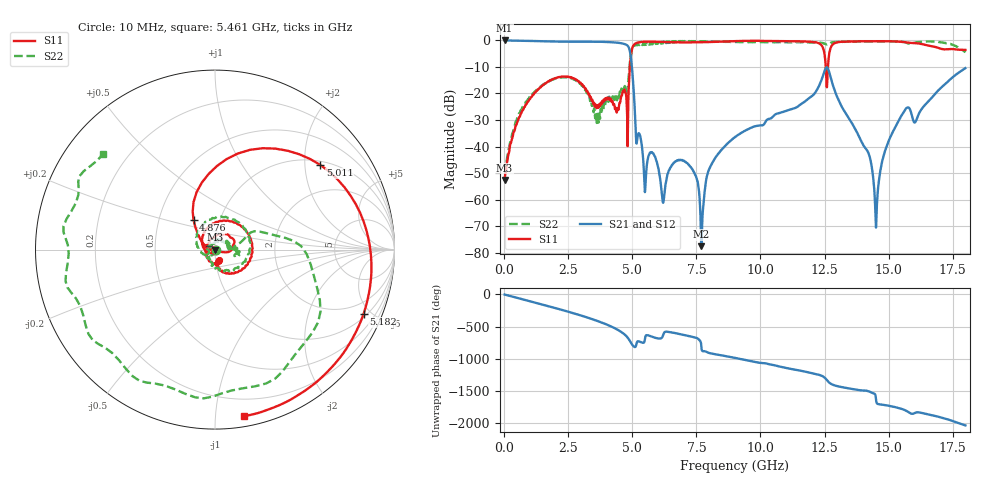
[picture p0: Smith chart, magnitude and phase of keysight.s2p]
!Keysight Technologies,E5080B,MY59500459,A.17.35.16
!Date: Friday, August 22, 2025 11:23:45
!Correction: S11(C  2-Port  )
!S21(C  2-Port  )
!S12(C  2-Port  )
!S22(C  2-Port  )
!S2P File: Measurements: S11, S21, S12, S22:
# Hz S  dB  R 50
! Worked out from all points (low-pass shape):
!   2001 points, 10 MHz to 18 GHz, reference 50 ohm
!   highest |S21| = -0.02 dB at 10 MHz (marker M1); lowest = -77.5 dB at 7.692 GHz (marker M2)
!   |S21| within 3 dB of the highest: start of sweep to 4.872 GHz
!   lowest |S11| = -52.5 dB at 10 MHz (marker M3), VSWR 1.00, Z = 50.2 - j0.027 ohm
!   |S11| at or under -10 dB: start of sweep to 4.899 GHz; 12.55 GHz to 12.63 GHz (85.42 MHz wide, 0.678 % of centre)
!   |S22| runs from -50.5 to -0.2 dB; largest |S21 - S12| = 0.00092
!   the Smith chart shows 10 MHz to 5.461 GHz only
!   S11 on the Smith chart (normalised r, x): 10 MHz: 1.00, -0.00; 4.876 GHz: 0.75, +0.26; 5.011 GHz: 1.10, +2.39; 5.182 GHz: 1.18, -4.54; 5.461 GHz: 0.07, -1.19
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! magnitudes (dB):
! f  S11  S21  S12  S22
! 10 MHz  -52.5  0.0  0.0  -50.5
! 1.107 GHz  -20.6  -0.2  -0.2  -20.0
! 3.014 GHz  -16.6  -0.5  -0.5  -17.0
! 3.653 GHz  -25.2  -0.5  -0.5  -29.0
! 4.876 GHz  -13.8  -3.2  -3.2  -11.4
! 5.011 GHz  -2.5  -13.8  -13.7  -2.7
! 5.182 GHz  -0.9  -37.7  -37.7  -1.6
! 5.461 GHz  -0.5  -51.9  -51.9  -1.7
! 6.01 GHz  -0.5  -48.0  -48.0  -0.7
! 6.199 GHz  -0.6  -61.2  -61.3  -0.9
! 6.603 GHz  -0.7  -46.2  -46.2  -0.6
! 7.215 GHz  -0.8  -47.0  -47.0  -0.4
! 7.692 GHz  -0.7  -77.5  -79.9  -0.4
! 8.025 GHz  -0.6  -47.9  -47.9  -0.5
! 9.005 GHz  -0.3  -36.4  -36.4  -0.6
! 12.01 GHz  -0.6  -21.0  -21.0  -0.7
! 12.64 GHz  -9.3  -10.7  -10.7  -1.3
! 12.88 GHz  -1.1  -18.5  -18.5  -0.7
! 14.22 GHz  -0.3  -42.7  -42.6  -0.5
! 14.51 GHz  -0.3  -70.5  -69.7  -0.4
! 15 GHz  -0.3  -37.9  -37.9  -0.3
! 18 GHz  -3.6  -10.4  -10.4  -4.5
